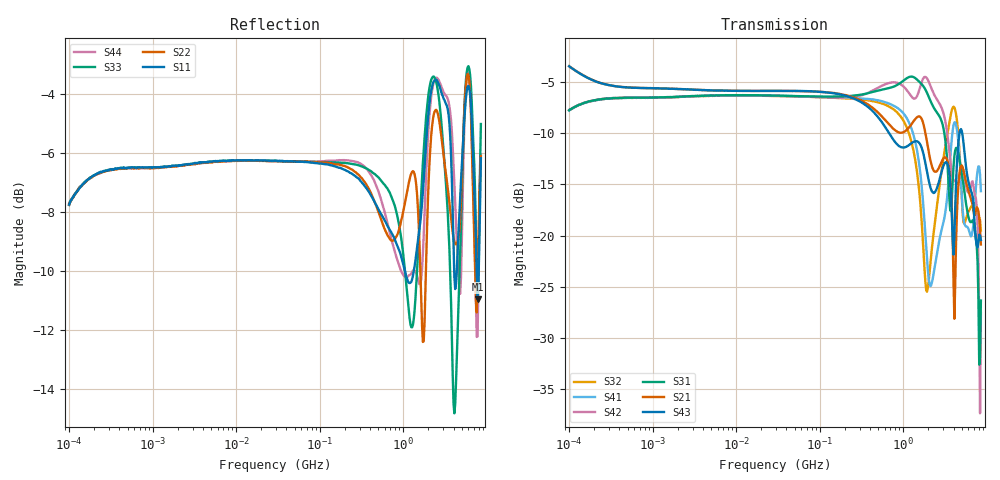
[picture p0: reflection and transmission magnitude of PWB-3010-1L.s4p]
# MHz S MA R 50
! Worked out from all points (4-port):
!   498 points, 100 kHz to 8.5 GHz, reference 50 ohm
!   strongest paths, dB at 100 kHz, 1.698 MHz, 29.49 MHz, 500.7 MHz, 8.5 GHz:
!     S43: -3.5, -5.7, -5.9, -8.4, -20.4
!     S21: -3.5, -5.7, -5.9, -8.0, -20.9
!     S31: -7.8, -6.5, -6.3, -5.8, -26.3
!     S42: -7.7, -6.5, -6.3, -5.6, -27.6
!     S41: -7.8, -6.5, -6.3, -6.8, -15.7
!     S32: -7.8, -6.5, -6.4, -7.0, -19.5
!   lowest |S11| = -10.9 dB at 7.758 GHz (marker M1), VSWR 1.79, Z = 51.6 + j30 ohm
!   |S11| at or under -10 dB: 1.049 GHz to 1.336 GHz (286.9 MHz wide, 24.1 % of centre); 4.075 GHz to 4.375 GHz (300.1 MHz wide, 7.1 % of centre); 7.569 GHz to 8.016 GHz (446.7 MHz wide, 5.73 % of centre)
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0.1  0.41 29.6  0.6719 -17.6  0.4091 30.2  0.4079 -150.0
     0.6719 -17.6  0.4097 30.2  0.4095 -150.3  0.4105 29.5
     0.4091 30.2  0.4095 -150.3  0.4093 29.6  0.6713 -17.7
     0.4079 -150.0  0.4105 29.5  0.6713 -17.7  0.4118 29.8
993.3315  0.326 -105.4  0.3194 90.7  0.5691 -98.1  0.3975 -77.5
          0.3194 90.7  0.3971 -99.4  0.3673 -73.8  0.5376 -104.0
          0.5691 -98.1  0.3673 -73.8  0.3404 -115.5  0.2693 77.0
          0.3975 -77.5  0.5376 -104.0  0.2693 77.0  0.3121 -111.0
2016.336  0.5907 -137.7  0.2573 -147.1  0.4766 136.8  0.06179 -7.6
          0.2573 -147.1  0.4518 -129.9  0.06012 -40.4  0.5649 146.4
          0.4766 136.8  0.06012 -40.4  0.6341 -140.4  0.1863 -143.4
          0.06179 -7.6  0.5649 146.4  0.1863 -143.4  0.5592 -133.3
3332.473  0.602 89.5  0.2361 65.3  0.2429 -13.6  0.1499 135.5
          0.2361 65.3  0.4486 100.1  0.3038 116.5  0.3247 -5.4
          0.2429 -13.6  0.3038 116.5  0.418 79.2  0.2269 82.9
          0.1499 135.5  0.3247 -5.4  0.2269 82.9  0.6238 97.6
5898.28  0.649 -109.4  0.1713 -162.8  0.1288 108.6  0.1099 -174.4
         0.1713 -162.8  0.6822 -111.3  0.1279 -176.2  0.1637 124.6
         0.1288 108.6  0.1279 -176.2  0.6998 -98.5  0.1916 -177.0
         0.1099 -174.4  0.1637 124.6  0.1916 -177.0  0.6861 -114.6
7757.924  0.2835 70.5  0.1361 13.7  0.07458 -89.9  0.2074 15.3
          0.1361 13.7  0.2989 41.6  0.1234 -2.2  0.1122 -98.0
          0.07458 -89.9  0.1234 -2.2  0.2863 79.6  0.08754 12.4
          0.2074 15.3  0.1122 -98.0  0.08754 12.4  0.2453 53.4
8500  0.4911 -37.6  0.0906 -77.6  0.04824 -73.5  0.1649 -107.7
      0.0906 -77.6  0.495 -50.3  0.1059 -91.2  0.04187 -59.8
      0.04824 -73.5  0.1059 -91.2  0.5612 -26.4  0.09526 -73.0
      0.1649 -107.7  0.04187 -59.8  0.09526 -73.0  0.4988 -50.5
